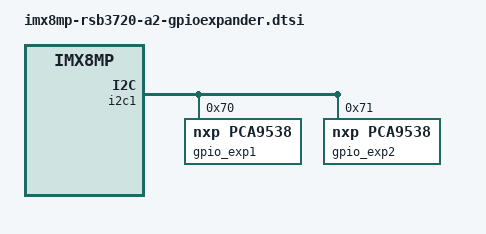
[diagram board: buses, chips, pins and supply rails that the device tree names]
&i2c1 {
	gpio_exp1: tca9538@70 {
		compatible = "nxp,pca9538";
		reg = <0x70>;
		gpio-controller;
		#gpio-cells = <2>;
	};

	gpio_exp2: tca9538@71 {
		compatible = "nxp,pca9538";
		reg = <0x71>;
		gpio-controller;
		#gpio-cells = <2>;
	};
};
